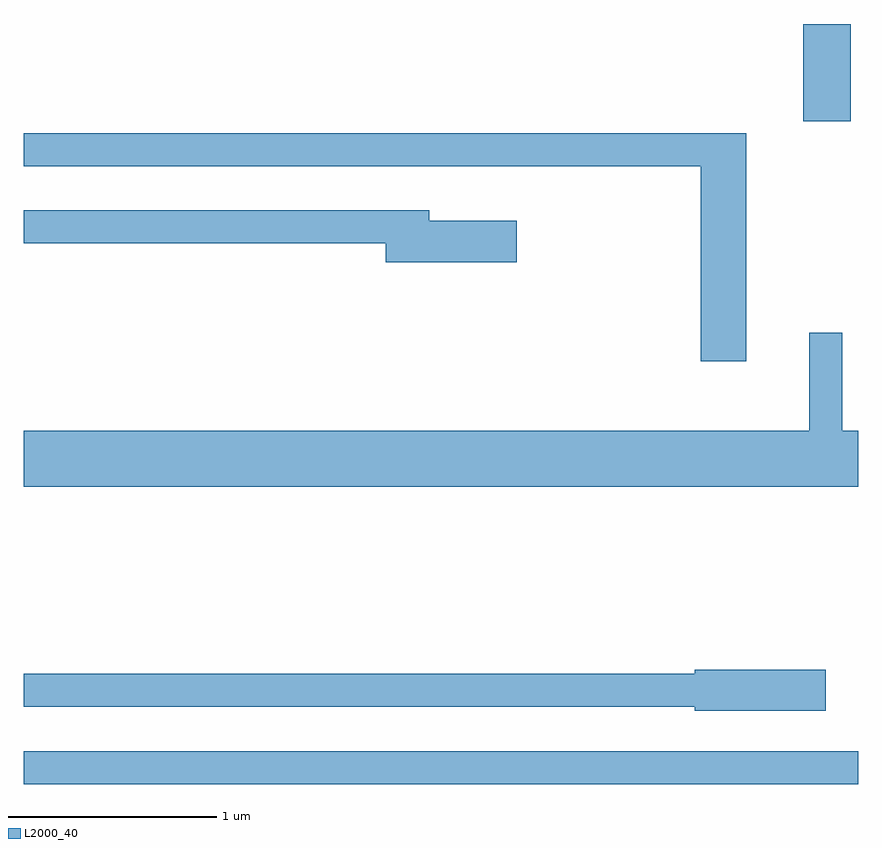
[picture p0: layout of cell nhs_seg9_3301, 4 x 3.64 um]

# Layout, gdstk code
import gdstk
lib = gdstk.Library(unit=1e-6, precision=1e-09)
def R(c, l, rs):  # rectangles x0, y0, x1, y1
    for r in rs: c.add(gdstk.rectangle(r[:2], r[2:], *l))
def P(c, l, *ps):  # polygons
    for p in ps: c.add(gdstk.Polygon(p, *l))
L2000_40 = (2000, 40)

nhs_seg9_3301 = lib.new_cell('nhs_seg9_3301')
R(nhs_seg9_3301, L2000_40, [(281.611,2034.791,285.611,2034.949), (285.346,2037.966,285.574,2038.432)])
P(nhs_seg9_3301, L2000_40, [(285.074,2037.909),(281.611,2037.909),(281.611,2037.751),(284.856,2037.751),(284.856,2036.816),(285.074,2036.816)],
  [(283.974,2037.489),(283.554,2037.489),(283.554,2037.539),(281.611,2037.539),(281.611,2037.381),(283.346,2037.381),(283.346,2037.291),(283.974,2037.291)],
  [(285.611,2036.484),(285.534,2036.484),(285.534,2036.953),(285.376,2036.953),(285.376,2036.484),(281.611,2036.484),(281.611,2036.216),(285.611,2036.216)],
  [(285.454,2035.339),(284.826,2035.339),(284.826,2035.319),(281.611,2035.319),(281.611,2035.161),(284.826,2035.161),(284.826,2035.141),(285.454,2035.141)])

lib.write_gds('nhs_seg9_3301.gds')
